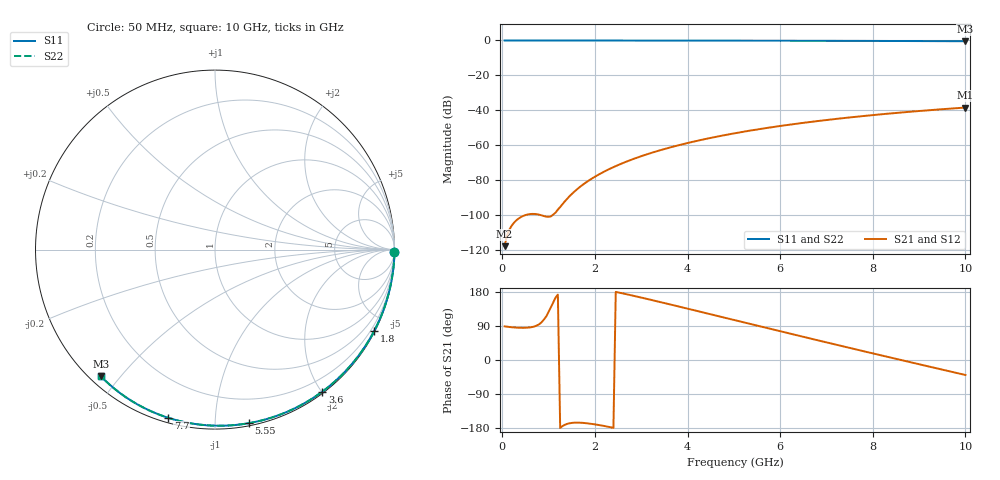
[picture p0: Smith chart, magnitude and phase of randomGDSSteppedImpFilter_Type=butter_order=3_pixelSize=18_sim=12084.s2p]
! freq	dB(S11)	phase(S11)	dB(S12)	phase(S12)
!  dB(S21)	phase(S21)	dB(S22)	phase(S22)
!S-par simulation data
#  GHz  S  DB  R 50
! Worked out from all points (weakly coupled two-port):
!   200 points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, 50 MHz to 10 GHz, reference 50 ohm
!   highest |S21| = -38.43 dB at 10 GHz (marker M1); lowest = -117.8 dB at 50 MHz (marker M2)
!   lowest |S11| = -0.4 dB at 10 GHz (marker M3), VSWR 39.06, Z = 1.53 - j22.3 ohm
!   |S11| at or under -10 dB: nowhere
!   |S22| runs from -0.4 to 0.0 dB; largest |S21 - S12| = 0
!   S11 on the Smith chart (normalised r, x): 50 MHz: open; 1.8 GHz: 0.04, -4.16; 3.6 GHz: 0.02, -2.01; 5.55 GHz: 0.02, -1.21; 7.7 GHz: 0.02, -0.76; 10 GHz: 0.03, -0.45
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0.05  -0.00 -0.8  -117.82 88.8  -117.82 88.8  -0.00 -0.8
0.9  -0.02 -13.7  -100.60 106.9  -100.60 106.9  -0.02 -13.7
1.75  -0.03 -26.3  -82.39 -166.0  -82.39 -166.0  -0.03 -26.3
1.8  -0.03 -27.1  -81.44 -166.6  -81.44 -166.6  -0.03 -27.1
1.85  -0.04 -27.8  -80.54 -167.3  -80.54 -167.3  -0.04 -27.8
1.9  -0.04 -28.5  -79.67 -168.0  -79.67 -168.0  -0.04 -28.5
2.05  -0.04 -30.7  -77.27 -170.9  -77.27 -170.9  -0.04 -30.7
2.25  -0.04 -33.6  -74.44 -175.3  -74.44 -175.3  -0.04 -33.6
2.45  -0.05 -36.6  -71.95 179.7  -71.95 179.7  -0.05 -36.6
2.65  -0.05 -39.4  -69.71 174.5  -69.71 174.5  -0.05 -39.4
3  -0.06 -44.5  -66.29 164.8  -66.29 164.8  -0.06 -44.5
3.4  -0.07 -50.1  -62.94 153.2  -62.94 153.2  -0.07 -50.1
3.6  -0.07 -52.9  -61.45 147.4  -61.45 147.4  -0.07 -52.9
4.3  -0.09 -62.5  -56.93 126.6  -56.93 126.6  -0.09 -62.5
5.05  -0.11 -72.5  -53.01 104.2  -53.01 104.2  -0.11 -72.5
5.55  -0.13 -79.0  -50.78 89.3  -50.78 89.3  -0.13 -79.0
6.1  -0.15 -86.0  -48.61 73.0  -48.61 73.0  -0.15 -86.0
6.7  -0.18 -93.4  -46.51 55.3  -46.51 55.3  -0.18 -93.4
7.7  -0.24 -105.5  -43.54 26.1  -43.54 26.1  -0.24 -105.5
8.35  -0.29 -113.1  -41.88 7.4  -41.88 7.4  -0.29 -113.1
9.15  -0.36 -122.3  -40.08 -15.4  -40.08 -15.4  -0.36 -122.3
10  -0.44 -132.0  -38.43 -39.5  -38.43 -39.5  -0.44 -132.0
